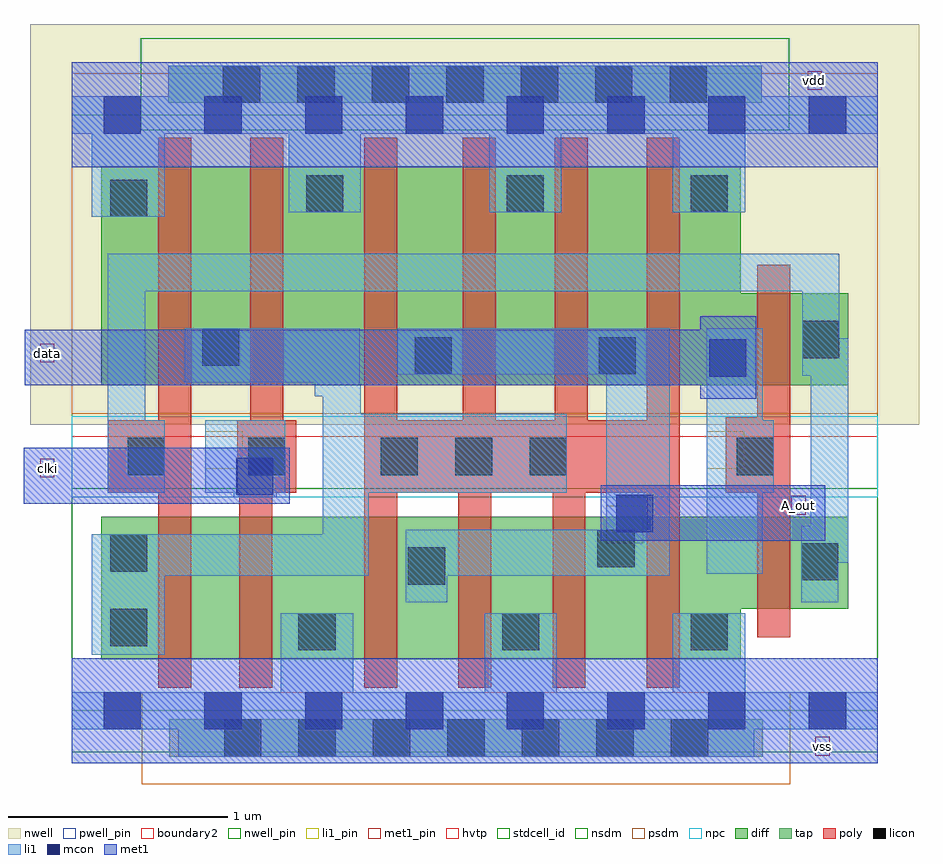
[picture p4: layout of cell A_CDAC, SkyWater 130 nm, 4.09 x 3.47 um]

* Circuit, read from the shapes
.subckt A_CDAC A_out clki data vdd vss
XM1 n1 n2 n3 vss sky130_fd_pr__nfet_01v8 w=0.65 l=0.15
XM2 vss clki n1 vss sky130_fd_pr__nfet_01v8 w=0.65 l=0.15
XM3 A_out n3 vss vss sky130_fd_pr__nfet_01v8 w=0.65 l=0.15 m=4
XM4 n2 data vss vss sky130_fd_pr__nfet_01v8 w=0.42 l=0.15
XM5 n3 n2 vdd vdd sky130_fd_pr__pfet_01v8_hvt w=1 l=0.15
XM6 vdd clki n3 vdd sky130_fd_pr__pfet_01v8_hvt w=1 l=0.15
XM7 A_out n3 vdd vdd sky130_fd_pr__pfet_01v8_hvt w=1 l=0.15 m=4
XM8 n2 data vdd vdd sky130_fd_pr__pfet_01v8_hvt w=0.42 l=0.15
.ends

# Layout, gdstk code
import gdstk
lib = gdstk.Library(unit=1e-6, precision=1e-09)
def R(c, l, rs):  # rectangles x0, y0, x1, y1
    for r in rs: c.add(gdstk.rectangle(r[:2], r[2:], *l))
def A(c, l, x, y, w, h, nx, ny, dx, dy):  # array of equal rectangles
    R(c, l, [(x+i*dx, y+j*dy, x+i*dx+w, y+j*dy+h) for i in range(nx) for j in range(ny)])
def P(c, l, *ps):  # polygons
    for p in ps: c.add(gdstk.Polygon(p, *l))
nwell_pin = (64, 16)
nwell = (64, 20)
diff = (65, 20)
tap = (65, 44)
poly = (66, 20)
licon = (66, 44)
li1_pin = (67, 16)
li1 = (67, 20)
mcon = (67, 44)
met1_pin = (68, 16)
met1 = (68, 20)
hvtp = (78, 44)
stdcell_id = (81, 4)
nsdm = (93, 44)
psdm = (94, 20)
npc = (95, 20)
pwell_pin = (122, 16)
boundary2 = (236, 0)

sky130_fd_sc_hd__and2b_4 = lib.new_cell('sky130_fd_sc_hd__and2b_4')
R(sky130_fd_sc_hd__and2b_4, nwell_pin, [(0.145,2.635,0.315,2.805)])
R(sky130_fd_sc_hd__and2b_4, nwell, [(-0.19,1.305,3.87,2.91)])
P(sky130_fd_sc_hd__and2b_4, diff, [(0.135,1.485),(0.135,2.485),(3.055,2.485),(3.055,1.905),(3.545,1.905),(3.545,1.485)],
  [(0.135,0.235),(0.135,0.885),(3.545,0.885),(3.545,0.465),(3.055,0.465),(3.055,0.235)])
P(sky130_fd_sc_hd__and2b_4, poly, [(0.395,0.105),(0.395,0.995),(0.165,0.995),(0.165,1.325),(0.395,1.325),(0.395,2.615),(0.545,2.615),(0.545,0.105)],
  [(0.765,0.105),(0.765,0.995),(0.755,0.995),(0.755,1.325),(0.815,1.325),(0.815,2.615),(0.965,2.615),(0.965,1.325),(1.025,1.325),(1.025,0.995),(0.915,0.995),(0.915,0.105)],
  [(1.335,0.105),(1.335,2.615),(1.485,2.615),(1.485,1.325),(1.785,1.325),(1.785,2.615),(1.935,2.615),(1.935,1.325),(2.205,1.325),(2.205,2.615),(2.355,2.615),(2.355,1.325),(2.625,1.325),(2.625,2.615),(2.775,2.615),(2.775,0.105),(2.625,0.105),(2.625,0.995),(2.345,0.995),(2.345,0.105),(2.195,0.105),(2.195,0.995),(1.915,0.995),(1.915,0.105),(1.765,0.105),(1.765,0.995),(1.485,0.995),(1.485,0.105)],
  [(3.13,0.335),(3.13,0.995),(2.985,0.995),(2.985,1.34),(3.13,1.34),(3.13,2.035),(3.28,2.035),(3.28,0.335)])
A(sky130_fd_sc_hd__and2b_4, licon, 1.41, 1.075, 0.17, 0.17, 3, 1, 0.34, 0)
R(sky130_fd_sc_hd__and2b_4, licon, [(1.035,0.275,1.205,0.445), (1.965,0.275,2.135,0.445), (2.825,0.275,2.995,0.445), (0.175,0.295,0.345,0.465), (1.535,0.575,1.705,0.745), (3.33,0.595,3.5,0.765), (0.175,0.635,0.345,0.805), (2.4,0.655,2.57,0.825), (0.255,1.075,0.425,1.245), (0.805,1.075,0.975,1.245), (3.035,1.075,3.205,1.245), (1.565,1.535,1.735,1.705), (2.405,1.535,2.575,1.705), (0.595,1.575,0.765,1.745), (3.335,1.61,3.505,1.78), (0.175,2.255,0.345,2.425), (1.07,2.275,1.24,2.445), (1.985,2.275,2.155,2.445), (2.825,2.275,2.995,2.445)])
R(sky130_fd_sc_hd__and2b_4, li1_pin, [(2.44,0.765,2.61,0.935), (0.61,1.105,0.78,1.275), (2.9,1.105,3.07,1.275)])
R(sky130_fd_sc_hd__and2b_4, li1, [(0.61,0.995,0.975,1.325)])
P(sky130_fd_sc_hd__and2b_4, li1, [(0,-0.085),(0,0.085),(0.955,0.085),(0.955,0.445),(1.285,0.445),(1.285,0.085),(1.885,0.085),(1.885,0.445),(2.215,0.445),(2.215,0.085),(2.745,0.085),(2.745,0.445),(3.075,0.445),(3.075,0.085),(3.68,0.085),(3.68,-0.085)],
  [(1.525,0.495),(1.525,0.825),(2.44,0.825),(2.44,1.535),(1.485,1.535),(1.485,1.745),(2.73,1.745),(2.73,0.615),(1.715,0.615),(1.715,0.495)],
  [(0.09,0.255),(0.09,0.805),(1.145,0.805),(1.145,1.435),(1.11,1.435),(1.11,1.5),(0.515,1.5),(0.515,1.745),(1.315,1.745),(1.315,1.485),(1.32,1.485),(1.32,1.355),(2.26,1.355),(2.26,0.995),(1.355,0.995),(1.355,0.615),(0.425,0.615),(0.425,0.255)],
  [(2.9,0.625),(2.9,1.745),(3.155,1.745),(3.155,1.325),(3.205,1.325),(3.205,0.995),(3.155,0.995),(3.155,0.625)],
  [(3.33,0.495),(3.33,0.845),(3.375,0.845),(3.375,1.53),(3.335,1.53),(3.335,1.915),(0.335,1.915),(0.335,1.325),(0.425,1.325),(0.425,0.995),(0.165,0.995),(0.165,2.085),(3.505,2.085),(3.505,1.7),(3.545,1.7),(3.545,0.675),(3.5,0.675),(3.5,0.495)],
  [(0.09,2.255),(0.09,2.635),(0,2.635),(0,2.805),(3.68,2.805),(3.68,2.635),(3.075,2.635),(3.075,2.275),(2.745,2.275),(2.745,2.635),(2.235,2.635),(2.235,2.275),(1.905,2.275),(1.905,2.635),(1.32,2.635),(1.32,2.275),(0.99,2.275),(0.99,2.635),(0.425,2.635),(0.425,2.255)])
A(sky130_fd_sc_hd__and2b_4, mcon, 0.145, -0.085, 0.17, 0.17, 8, 2, 0.46, 2.72)
R(sky130_fd_sc_hd__and2b_4, met1_pin, [(0.145,-0.085,0.315,0.085), (0.145,2.635,0.315,2.805)])
R(sky130_fd_sc_hd__and2b_4, hvtp, [(0,1.25,3.68,2.72)])
R(sky130_fd_sc_hd__and2b_4, stdcell_id, [(0,0,3.68,2.72)])
R(sky130_fd_sc_hd__and2b_4, nsdm, [(0,-0.19,3.68,1.015)])
R(sky130_fd_sc_hd__and2b_4, psdm, [(0,1.355,3.68,2.91)])
R(sky130_fd_sc_hd__and2b_4, npc, [(0,0.975,3.68,1.345)])
R(sky130_fd_sc_hd__and2b_4, pwell_pin, [(0.145,-0.085,0.315,0.085)])
R(sky130_fd_sc_hd__and2b_4, boundary2, [(0,0,3.68,2.72)])
sky130_fd_sc_hd__and2b_4.add(gdstk.FlexPath([(0,0),(3.68,0)], 0.48, ends="flush", simple_path=True, layer=68, datatype=20))  # met1
sky130_fd_sc_hd__and2b_4.add(gdstk.FlexPath([(0,2.72),(3.68,2.72)], 0.48, ends="flush", simple_path=True, layer=68, datatype=20))  # met1
sky130_fd_sc_hd__and2b_4.add(gdstk.Label('X', (2.525,0.85), layer=67, texttype=5))
sky130_fd_sc_hd__and2b_4.add(gdstk.Label('A_N', (2.985,1.19), layer=67, texttype=5))
sky130_fd_sc_hd__and2b_4.add(gdstk.Label('B', (0.695,1.19), layer=67, texttype=5))
sky130_fd_sc_hd__and2b_4.add(gdstk.Label('VPB', (0.23,2.72), layer=64, texttype=5))
sky130_fd_sc_hd__and2b_4.add(gdstk.Label('VNB', (0.23,0), layer=64, texttype=59))
sky130_fd_sc_hd__and2b_4.add(gdstk.Label('VPWR', (0.23,2.72), layer=68, texttype=5))
sky130_fd_sc_hd__and2b_4.add(gdstk.Label('VGND', (0.23,0), layer=68, texttype=5))
sky130_fd_sc_hd__and2b_4.add(gdstk.Label('and2b_4', (0,0), layer=83, texttype=44))

a_cdac = lib.new_cell('A_CDAC')
R(a_cdac, nwell, [(8.14,1.595,8.85,1.74), (4.79,1.74,8.85,3.425)])
R(a_cdac, tap, [(5.425,0.08,8.135,0.25), (5.42,3.065,8.13,3.235)])
A(a_cdac, licon, 5.675, 0.08, 0.17, 0.17, 7, 1, 0.34, 0)
A(a_cdac, licon, 5.67, 3.065, 0.17, 0.17, 7, 1, 0.34, 0)
R(a_cdac, li1, [(5.465,0.08,8.095,0.25), (7.455,1.095,7.65,1.29), (5.72,1.265,5.915,1.46), (7.88,1.775,8.075,2.03), (5.42,3.065,8.13,3.235)])
R(a_cdac, mcon, [(7.465,1.105,7.635,1.275), (5.73,1.275,5.9,1.445), (7.89,1.815,8.06,1.985)])
R(a_cdac, met1_pin, [(8.375,0.085,8.44,0.17), (8.265,1.185,8.33,1.27), (4.835,1.355,4.9,1.44), (4.835,1.88,4.9,1.965), (8.34,3.125,8.405,3.21)])
R(a_cdac, met1, [(8.375,0.085,8.44,0.17), (7.395,1.065,8.42,1.32), (4.76,1.235,5.975,1.49), (7.85,1.715,8.105,1.775), (4.765,1.775,8.105,2.03), (7.85,2.03,8.105,2.09), (8.34,3.125,8.405,3.21)])
R(a_cdac, nsdm, [(5.295,2.94,8.255,3.36)])
R(a_cdac, psdm, [(5.3,-0.045,8.26,0.375)])
a_cdac.add(gdstk.Reference(sky130_fd_sc_hd__and2b_4, (4.98,0.29)))
a_cdac.add(gdstk.Label('clki', (4.867,1.397), layer=68, texttype=5))
a_cdac.add(gdstk.Label('vdd', (8.372,3.167), layer=68, texttype=5))
a_cdac.add(gdstk.Label('A_out', (8.297,1.227), layer=68, texttype=5))
a_cdac.add(gdstk.Label('data', (4.867,1.922), layer=68, texttype=5))
a_cdac.add(gdstk.Label('vss', (8.407,0.127), layer=68, texttype=5))

lib.write_gds('A_CDAC.gds')
